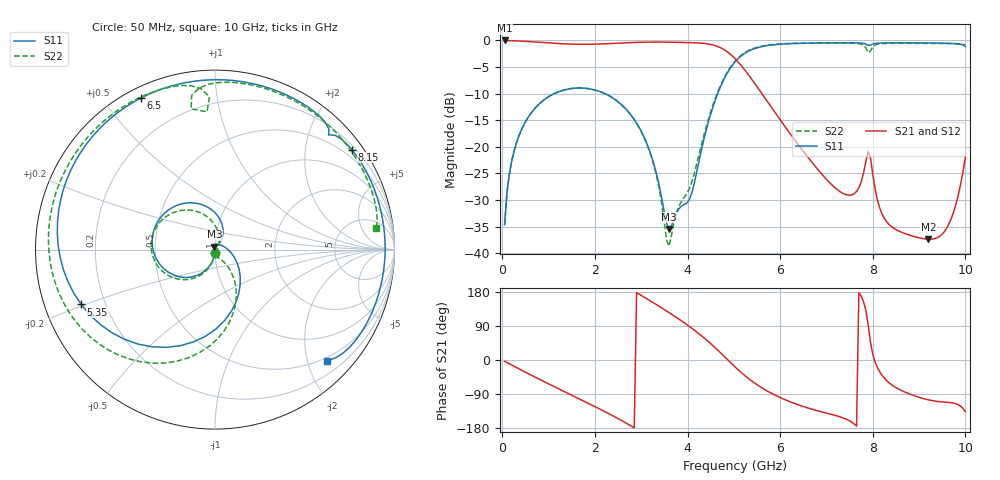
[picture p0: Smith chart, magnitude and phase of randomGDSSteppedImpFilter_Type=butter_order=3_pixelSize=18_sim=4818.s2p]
! freq	dB(S11)	phase(S11)	dB(S12)	phase(S12)
!  dB(S21)	phase(S21)	dB(S22)	phase(S22)
!S-par simulation data
#  GHz  S  DB  R 50
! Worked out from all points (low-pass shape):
!   200 points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, 50 MHz to 10 GHz, reference 50 ohm
!   highest |S21| = -0.01 dB at 50 MHz (marker M1); lowest = -37.4 dB at 9.2 GHz (marker M2)
!   |S21| within 3 dB of the highest: start of sweep to 4.976 GHz
!   lowest |S11| = -35.4 dB at 3.6 GHz (marker M3), VSWR 1.03, Z = 49.7 + j1.66 ohm
!   |S11| at or under -10 dB: start of sweep to 1.122 GHz; 2.216 GHz to 4.651 GHz (2.435 GHz wide, 70.9 % of centre)
!   |S22| runs from -38.7 to -0.5 dB; largest |S21 - S12| = 0
!   S11 on the Smith chart (normalised r, x): 50 MHz: 1.00, -0.04; 5.35 GHz: 0.11, -0.19; 6.5 GHz: 0.04, +0.62; 8.15 GHz: 0.29, +3.04; 10 GHz: 0.43, -2.35
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0.05  -34.67 -93.2  -0.01 -3.3  -0.01 -3.3  -34.65 -92.8
0.2  -22.82 -103.8  -0.04 -13.0  -0.04 -13.0  -22.82 -102.6
0.5  -15.30 -124.1  -0.18 -32.2  -0.18 -32.2  -15.30 -121.2
1.75  -8.97 156.5  -0.73 -107.7  -0.73 -107.7  -8.96 167.3
2.7  -13.20 93.7  -0.44 -168.3  -0.44 -168.3  -13.21 111.0
3.4  -27.77 56.3  -0.31 140.7  -0.31 140.7  -28.45 55.1
3.6  -35.44 99.9  -0.33 125.1  -0.33 125.1  -38.67 -34.3
4.05  -29.71 64.3  -0.41 87.5  -0.41 87.5  -27.62 -76.2
4.3  -20.59 -12.0  -0.51 64.1  -0.51 64.1  -19.64 -53.2
4.7  -8.95 -75.4  -1.32 20.4  -1.32 20.4  -8.68 -74.0
5.05  -3.81 -122.9  -3.64 -21.0  -3.64 -21.0  -3.66 -108.8
5.35  -1.88 -157.7  -6.87 -52.1  -6.87 -52.1  -1.76 -136.9
5.8  -0.88 162.0  -12.45 -87.0  -12.45 -87.0  -0.80 -169.6
6.5  -0.54 116.2  -20.84 -122.7  -20.84 -122.7  -0.51 153.6
6.7  -0.51 105.0  -23.06 -130.2  -23.06 -130.2  -0.49 144.6
7.55  -0.45 61.8  -29.03 -164.4  -29.03 -164.4  -0.52 108.3
7.9  -0.93 45.2  -20.89 93.7  -20.89 93.7  -2.28 93.3
8.15  -0.50 36.2  -31.50 -31.1  -31.50 -31.1  -0.64 89.9
8.35  -0.46 27.1  -34.59 -59.9  -34.59 -59.9  -0.55 80.6
9.2  -0.48 -8.3  -37.37 -105.1  -37.37 -105.1  -0.55 44.9
9.65  -0.55 -26.8  -34.37 -112.0  -34.37 -112.0  -0.59 25.3
10  -1.12 -45.0  -21.91 -136.4  -21.91 -136.4  -0.84 7.5
